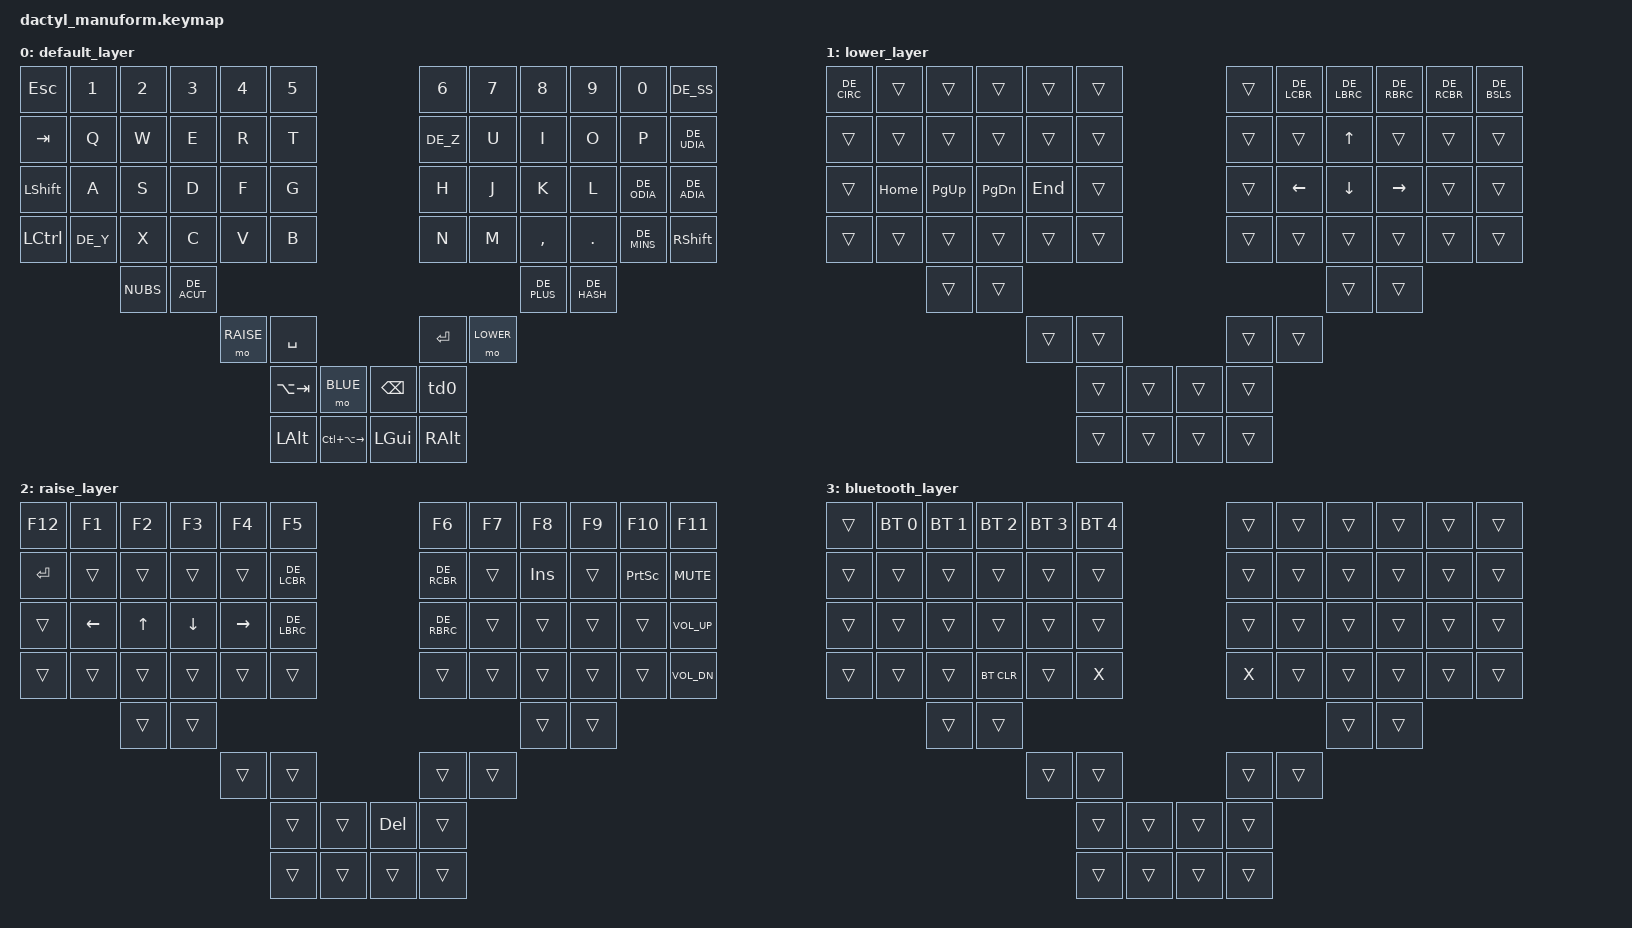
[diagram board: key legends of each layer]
/*
 * Copyright (c) 2022 The ZMK Contributors
 *
 * SPDX-License-Identifier: MIT
 */

#include <behaviors.dtsi>
#include <dt-bindings/zmk/keys.h>
#include <dt-bindings/zmk/bt.h>

#define ______ &trans

#define DEFAULT 0
#define LOWER   1
#define RAISE   2
#define BLUE    3

/ {
    conditional_layers {
        compatible = "zmk,conditional-layers";
        tri_layer {
            if-layers = <LOWER RAISE>;
            then-layer = <BLUE>;
        };
    };

    #include "german_lang.dtsi"

    behaviors {
        td0: tap_dance_tilde_bslash {
            compatible = "zmk,behavior-tap-dance";
            label = "TAP_DANCE_0";
            #binding-cells = <0>;
            tapping-term-ms = <200>;
            bindings = <&kp DE_TILD>, <&kp DE_PIPE>, <&kp DE_BSLS>;
        };
    };

    keymap {
        compatible = "zmk,keymap";

        default_layer {
            bindings = <
                &kp ESC      &kp N1      &kp N2      &kp N3      &kp N4      &kp N5                                      &kp N6          &kp N7       &kp N8      &kp N9        &kp N0      &kp DE_SS
                &kp TAB      &kp Q       &kp W       &kp E       &kp R       &kp T                                       &kp DE_Z        &kp U        &kp I       &kp O         &kp P       &kp DE_UDIA
                &kp LSHIFT   &kp A       &kp S       &kp D       &kp F       &kp G                                       &kp H           &kp J        &kp K       &kp L         &kp DE_ODIA &kp DE_ADIA
                &kp LCTRL    &kp DE_Y    &kp X       &kp C       &kp V       &kp B                                       &kp N           &kp M        &kp COMMA   &kp DOT       &kp DE_MINS &kp RSHIFT
                                         &kp NUBS    &kp DE_ACUT                                                                                      &kp DE_PLUS &kp DE_HASH
                                                                 &mo RAISE   &kp SPACE                                   &kp ENTER       &mo LOWER
                                                                             &kp LA(TAB) &mo BLUE            &kp BSPC    &td0
                                                                             &kp LALT    &kp LC(LA(RIGHT))   &kp LGUI    &kp RALT
            >;
        };

        lower_layer {
            bindings = <
                &kp DE_CIRC  ______      ______      ______      ______      ______                                      ______       &kp DE_LCBR  &kp DE_LBRC &kp DE_RBRC  &kp DE_RCBR &kp DE_BSLS
                ______       ______      ______      ______      ______      ______                                      ______       ______       &kp UP      ______       ______      ______
                ______       &kp HOME    &kp PG_UP   &kp PG_DN   &kp END     ______                                      ______       &kp LEFT     &kp DOWN    &kp RIGHT    ______      ______
                ______       ______      ______      ______      ______      ______                                      ______       ______       ______      ______       ______      ______
                                         ______      ______                                                                                        ______      ______
                                                                 ______      ______                                      ______       ______
                                                                             ______       ______            ______       ______
                                                                             ______       ______            ______       ______
            >;
        };

        raise_layer {
            bindings = <
                &kp F12      &kp F1      &kp F2      &kp F3      &kp F4      &kp F5                                      &kp F6       &kp F7      &kp F8       &kp F9      &kp F10     &kp F11
                &kp ENTER    ______      ______      ______      ______      &kp DE_LCBR                                 &kp DE_RCBR  ______      &kp INS      ______      &kp PSCRN   &kp C_MUTE
                ______       &kp LEFT    &kp UP      &kp DOWN    &kp RIGHT   &kp DE_LBRC                                 &kp DE_RBRC  ______      ______       ______      ______      &kp C_VOL_UP
                ______       ______      ______      ______      ______      ______                                      ______       ______      ______       ______      ______      &kp C_VOL_DN
                                         ______      ______                                                                                       ______       ______
                                                                 ______       ______                                     ______       ______
                                                                              ______       ______           &kp DEL      ______
                                                                              ______       ______           ______       ______
            >;
        };

        bluetooth_layer {
            bindings = <
                ______       &bt BT_SEL 0 &bt BT_SEL 1 &bt BT_SEL 2 &bt BT_SEL 3 &bt BT_SEL 4                                ______       ______       ______      ______       ______      ______
                ______       ______       ______       ______       ______       ______                                      ______       ______       ______      ______       ______      ______
                ______       ______       ______       ______       ______       ______                                      ______       ______       ______      ______       ______      ______
                ______       ______       ______       &bt BT_CLR   ______       &kp X                                       &kp X        ______       ______      ______       ______      ______
                                          ______       ______                                                                                          ______      ______
                                                                    ______       ______                                      ______       ______
                                                                                 ______       ______            ______       ______
                                                                                 ______       ______            ______       ______
            >;
        };
    };
};
